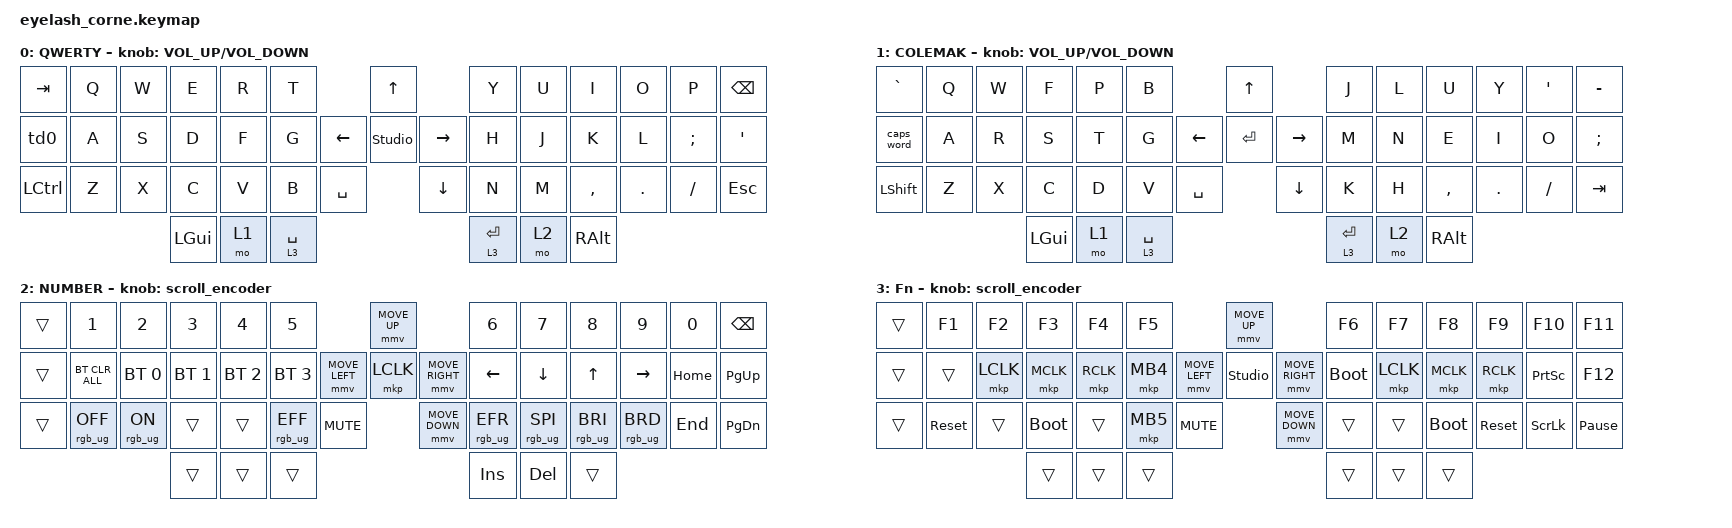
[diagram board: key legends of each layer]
#define ZMK_POINTING_DEFAULT_MOVE_VAL 1200  // 600
#define ZMK_POINTING_DEFAULT_SCRL_VAL 25   // 10

#include <input/processors.dtsi>
#include <zephyr/dt-bindings/input/input-event-codes.h>
#include <behaviors.dtsi>
#include <dt-bindings/zmk/bt.h>
#include <dt-bindings/zmk/keys.h>
#include <dt-bindings/zmk/outputs.h>
#include <dt-bindings/zmk/pointing.h>
#include <dt-bindings/zmk/rgb.h>

&msc {
    acceleration-exponent = <1>;      // 0
    time-to-max-speed-ms = <100>;       // 300
    delay-ms = <0>;                   // 0
};

&mmv {
    time-to-max-speed-ms = <500>;
    acceleration-exponent = <1>;
    trigger-period-ms = <16>;
};

&soft_off { hold-time-ms = <2000>; };

/ {
    behaviors {
        td0: td0 {
            compatible = "zmk,behavior-tap-dance";
            display-name = "Shift/Caps Lock Tap Dance";
            #binding-cells = <0>;
            bindings = <&kp LEFT_SHIFT>, <&kp CAPS>;
        };
    };

    rgb_encoder: rgb_encoder {
        compatible = "zmk,behavior-sensor-rotate";
        #sensor-binding-cells = <0>;
        bindings = <&rgb_ug RGB_BRI>, <&rgb_ug RGB_BRD>;
    };

    scroll_encoder: scroll_encoder {
        compatible = "zmk,behavior-sensor-rotate";
        #sensor-binding-cells = <0>;
        bindings = <&msc SCRL_DOWN>, <&msc SCRL_UP>;

        tap-ms = <100>;
    };

    combos {
        compatible = "zmk,combos";

        softoff {
            bindings = <&soft_off>;
            key-positions = <1 15 29>;
        };
    };

    keymap {
        compatible = "zmk,keymap";

        default_layer {
            display-name = "QWERTY";
            bindings = <
&kp TAB    &kp Q  &kp W  &kp E     &kp R  &kp T                               &kp UP                &kp Y        &kp U  &kp I      &kp O    &kp P     &kp BSPC
&td0       &kp A  &kp S  &kp D     &kp F  &kp G                     &kp LEFT  &studio_unlock  &kp RIGHT  &kp H        &kp J  &kp K      &kp L    &kp SEMI  &kp SQT
&kp LCTRL  &kp Z  &kp X  &kp C     &kp V  &kp B        &kp SPACE              &kp DOWN              &kp N        &kp M  &kp COMMA  &kp DOT  &kp FSLH  &kp ESC
                         &kp LGUI  &mo 1  &lt 3 SPACE                                               &lt 3 ENTER  &mo 2  &kp RALT
            >;

             sensor-bindings = <&inc_dec_kp C_VOLUME_UP C_VOLUME_DOWN>;
        };

        colemak_layer {
            display-name = "COLEMAK";
            bindings = <
&kp GRAVE       &kp Q             &kp W             &kp F                &kp P              &kp B                                          &kp UP                &kp J               &kp L               &kp U               &kp Y              &kp APOS           &kp MINUS
&caps_word      &kp A  &kp R  &kp S    &kp T  &kp G                                &kp LEFT  &kp ENTER  &kp RIGHT  &kp M               &kp N  &kp E  &kp I  &kp O  &kp SEMI
&kp LEFT_SHIFT  &kp Z             &kp X             &kp C                &kp D              &kp V                   &kp SPACE              &kp DOWN              &kp K               &kp H               &kp COMMA           &kp DOT            &kp FSLH           &kp TAB
                          &kp LGUI  &mo 1  &lt 3 SPACE                                               &lt 3 ENTER  &mo 2  &kp RALT
            >;

            sensor-bindings = <&inc_dec_kp C_VOLUME_UP C_VOLUME_DOWN>;
        };

        number_layer {
            display-name = "NUMBER";
            bindings = <
&trans  &kp N1           &kp N2          &kp N3        &kp N4        &kp N5                                         &mmv MOVE_UP                     &kp N6           &kp N7           &kp N8           &kp N9           &kp N0    &kp BSPC
&trans  &bt BT_CLR_ALL   &bt BT_SEL 0    &bt BT_SEL 1  &bt BT_SEL 2  &bt BT_SEL 3                   &mmv MOVE_LEFT  &mkp LCLK       &mmv MOVE_RIGHT  &kp LEFT         &kp DOWN         &kp UP           &kp RIGHT        &kp HOME  &kp PG_UP
&trans  &rgb_ug RGB_OFF  &rgb_ug RGB_ON  &trans        &trans        &rgb_ug RGB_EFF  &kp C_MUTE                    &mmv MOVE_DOWN                   &rgb_ug RGB_EFR  &rgb_ug RGB_SPI  &rgb_ug RGB_BRI  &rgb_ug RGB_BRD  &kp END   &kp PG_DN
                                         &trans        &trans        &trans                                                                          &kp INS          &kp DEL          &trans
            >;

            sensor-bindings = <&scroll_encoder>;
        };

        layer_3 {
            display-name = "Fn";
            bindings = <
&trans          &kp F1      &kp F2     &kp F3       &kp F4     &kp F5                                  &mmv MOVE_UP                     &kp F6       &kp F7     &kp F8       &kp F9      &kp F10          &kp F11
&trans          &trans      &mkp LCLK  &mkp MCLK    &mkp RCLK  &mkp MB4                &mmv MOVE_LEFT  &studio_unlock  &mmv MOVE_RIGHT  &bootloader  &mkp LCLK  &mkp MCLK    &mkp RCLK   &kp PRINTSCREEN  &kp F12
&trans          &sys_reset  &trans     &bootloader  &trans     &mkp MB5  &kp C_MUTE                    &mmv MOVE_DOWN                   &trans       &trans     &bootloader  &sys_reset  &kp SCROLLLOCK   &kp PAUSE_BREAK
                                       &trans       &trans     &trans                                                                   &trans       &trans     &trans
            >;

            sensor-bindings = <&scroll_encoder>;
        };
    };
};
